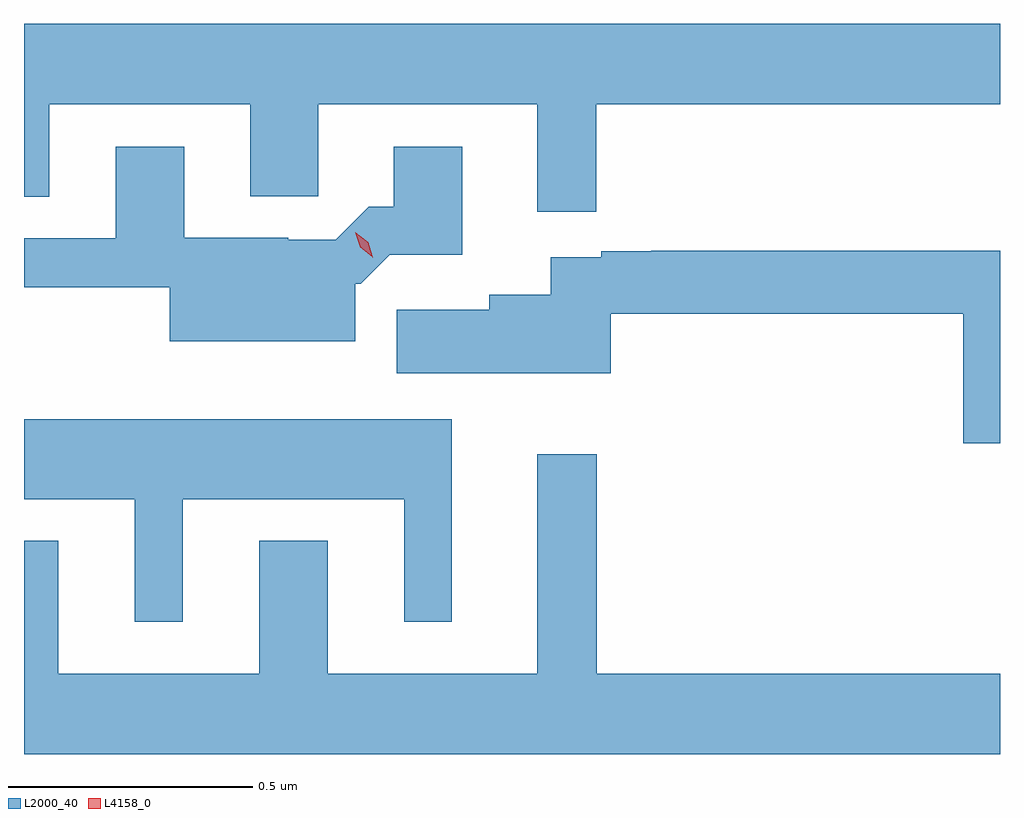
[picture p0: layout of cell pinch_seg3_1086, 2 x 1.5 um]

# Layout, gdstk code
import gdstk
lib = gdstk.Library(unit=1e-6, precision=1e-09)
def P(c, l, *ps):  # polygons
    for p in ps: c.add(gdstk.Polygon(p, *l))
L2000_40 = (2000, 40)
L4158_0 = (4158, 0)

pinch_seg3_1086 = lib.new_cell('pinch_seg3_1086')
P(pinch_seg3_1086, L2000_40, [(297.051,728.698),(297.103,728.698),(297.103,728.888),(297.515,728.888),(297.515,728.699),(297.654,728.699),(297.654,728.888),(298.103,728.888),(298.103,728.667),(298.224,728.667),(298.224,728.888),(299.051,728.888),(299.051,729.052),(297.051,729.052)],
  [(297.73,728.52),(297.741,728.52),(297.8,728.579),(297.949,728.579),(297.949,728.8),(297.809,728.8),(297.809,728.677),(297.757,728.677),(297.69,728.61),(297.593,728.61),(297.593,728.614),(297.379,728.614),(297.379,728.8),(297.239,728.8),(297.239,728.613),(297.051,728.613),(297.051,728.512),(297.35,728.512),(297.35,728.402),(297.73,728.402)],
  [(299.051,728.587),(298.336,728.587),(298.336,728.586),(298.234,728.586),(298.234,728.574),(298.13,728.574),(298.13,728.497),(298.004,728.497),(298.004,728.466),(297.815,728.466),(297.815,728.336),(298.253,728.336),(298.253,728.458),(298.976,728.458),(298.976,728.193),(299.051,728.193)],
  [(297.376,728.078),(297.83,728.078),(297.83,727.827),(297.928,727.827),(297.928,728.242),(297.051,728.242),(297.051,728.078),(297.278,728.078),(297.278,727.827),(297.376,727.827)],
  [(299.051,727.72),(298.225,727.72),(298.225,728.17),(298.103,728.17),(298.103,727.72),(297.673,727.72),(297.673,727.993),(297.533,727.993),(297.533,727.72),(297.121,727.72),(297.121,727.993),(297.051,727.993),(297.051,727.556),(299.051,727.556)])
P(pinch_seg3_1086, L4158_0, [(297.766,728.573),(297.766,728.574),(297.74,728.594),(297.73,728.625),(297.73,728.625),(297.73,728.625),(297.756,728.605),(297.766,728.574)])

lib.write_gds('pinch_seg3_1086.gds')
